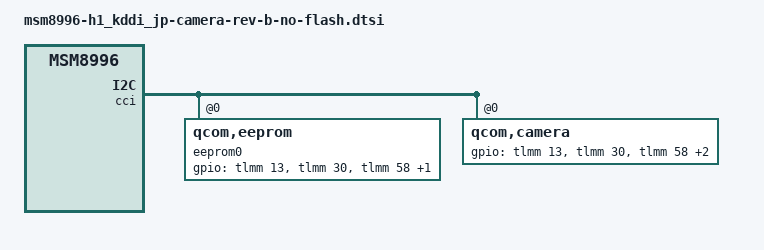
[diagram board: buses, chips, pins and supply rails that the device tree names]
/*
 * Copyright (c) 2015 The Linux Foundation. All rights reserved.
 *
 * This program is free software; you can redistribute it and/or modify
 * it under the terms of the GNU General Public License version 2 and
 * only version 2 as published by the Free Software Foundation.
 *
 * This program is distributed in the hope that it will be useful,
 * but WITHOUT ANY WARRANTY; without even the implied warranty of
 * MERCHANTABILITY or FITNESS FOR A PARTICULAR PURPOSE.  See the
 * GNU General Public License for more details.
 */

#include "../msm8996-h1-camera-no-flash.dtsi"

&cci {

	eeprom0: qcom,eeprom@0 {
		gpios = <&tlmm 13 0>,  //CAM_MCLK
				<&tlmm 30 0>,  //CAM_RESET
				<&tlmm 58 0>,  //OIS_RESET
				<&tlmm 91 0>;  //CAM_AVDD
	};

	qcom,camera@0 {
		gpios = <&tlmm 13 0>,  //CAM_MCLK
				<&tlmm 30 0>,  //CAM_RESET
				<&tlmm 58 0>,  //OIS_RESET
				<&tlmm 91 0>,  //CAM_AVDD
				<&tlmm 80 0>;	// LDAF_EN
	};
};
